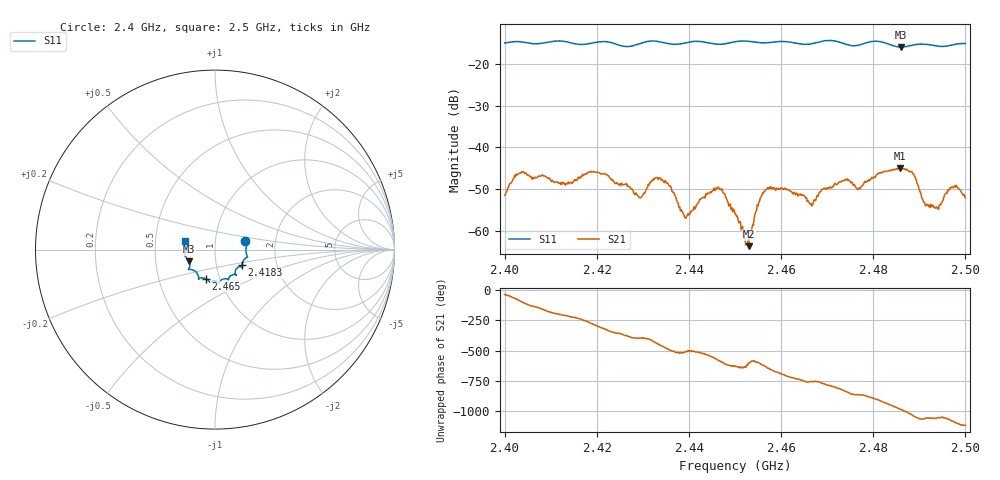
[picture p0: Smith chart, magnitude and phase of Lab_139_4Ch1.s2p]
# Hz S RI R 50
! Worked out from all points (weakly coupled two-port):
!   601 points, 2.4 GHz to 2.5 GHz, reference 50 ohm
!   highest |S21| = -44.88 dB at 2.4858 GHz (marker M1); lowest = -63.6 dB at 2.453 GHz (marker M2)
!   lowest |S11| = -16.1 dB at 2.486 GHz (marker M3), VSWR 1.37, Z = 37.2 - j4.98 ohm
!   |S11| at or under -10 dB: start of sweep to end of sweep
!   S12 and S22 are empty: the file has one direction only
!   S11 on the Smith chart (normalised r, x): 2.4 GHz: 1.40, +0.13; 2.4183 GHz: 1.33, -0.24; 2.465 GHz: 0.86, -0.29; 2.5 GHz: 0.71, +0.07
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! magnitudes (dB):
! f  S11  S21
! 2.4 GHz  -15.1  -51.4
! 2.4037 GHz  -14.8  -45.8
! 2.4167 GHz  -15.4  -46.9
! 2.4183 GHz  -15.2  -45.9
! 2.4293 GHz  -15.2  -52.0
! 2.4333 GHz  -14.7  -47.6
! 2.4392 GHz  -15.1  -56.8
! 2.446 GHz  -15.4  -49.9
! 2.45 GHz  -14.8  -55.9
! 2.453 GHz  -14.7  -63.6
! 2.4567 GHz  -15.0  -50.1
! 2.465 GHz  -15.4  -51.5
! 2.4667 GHz  -15.3  -54.0
! 2.4732 GHz  -15.0  -48.0
! 2.4768 GHz  -15.6  -49.9
! 2.4833 GHz  -15.3  -45.5
! 2.4858 GHz  -16.1  -44.9
! 2.486 GHz  -16.1  -45.2
! 2.4887 GHz  -15.6  -46.4
! 2.4918 GHz  -15.4  -53.6
! 2.4975 GHz  -15.5  -49.3
! 2.5 GHz  -15.2  -52.0
